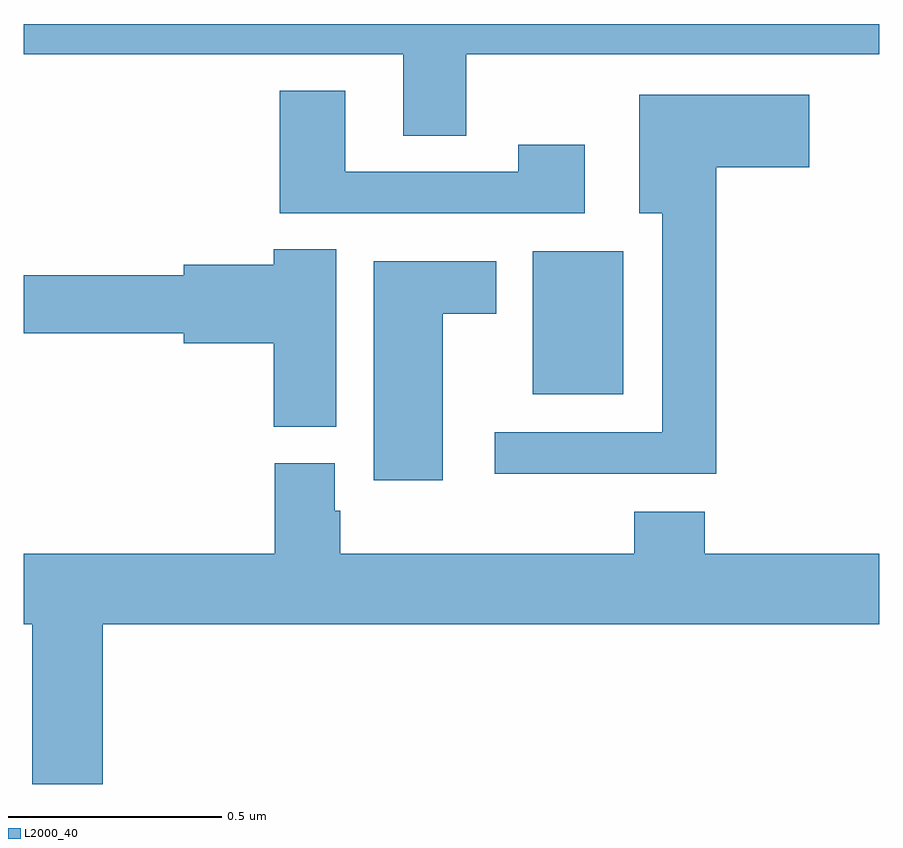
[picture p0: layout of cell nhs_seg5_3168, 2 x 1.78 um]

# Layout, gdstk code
import gdstk
lib = gdstk.Library(unit=1e-6, precision=1e-09)
def R(c, l, rs):  # rectangles x0, y0, x1, y1
    for r in rs: c.add(gdstk.rectangle(r[:2], r[2:], *l))
def P(c, l, *ps):  # polygons
    for p in ps: c.add(gdstk.Polygon(p, *l))
L2000_40 = (2000, 40)

nhs_seg5_3168 = lib.new_cell('nhs_seg5_3168')
R(nhs_seg5_3168, L2000_40, [(154.19,887.933,154.402,888.268)])
P(nhs_seg5_3168, L2000_40, [(154.035,888.728),(155,888.728),(155,888.799),(153,888.799),(153,888.728),(153.887,888.728),(153.887,888.538),(154.035,888.538)],
  [(154.312,888.517),(154.156,888.517),(154.156,888.453),(153.751,888.453),(153.751,888.643),(153.599,888.643),(153.599,888.357),(154.312,888.357)],
  [(154.619,888.464),(154.837,888.464),(154.837,888.634),(154.439,888.634),(154.439,888.356),(154.493,888.356),(154.493,887.844),(154.101,887.844),(154.101,887.747),(154.619,887.747)],
  [(153.73,888.272),(153.584,888.272),(153.584,888.236),(153.374,888.236),(153.374,888.212),(153,888.212),(153,888.076),(153.374,888.076),(153.374,888.053),(153.584,888.053),(153.584,887.857),(153.73,887.857)],
  [(153.979,888.122),(154.105,888.122),(154.105,888.244),(153.818,888.244),(153.818,887.732),(153.979,887.732)],
  [(153.184,887.396),(155,887.396),(155,887.56),(154.592,887.56),(154.592,887.659),(154.427,887.659),(154.427,887.56),(153.74,887.56),(153.74,887.661),(153.727,887.661),(153.727,887.772),(153.587,887.772),(153.587,887.56),(153,887.56),(153,887.396),(153.02,887.396),(153.02,887.022),(153.184,887.022)])

lib.write_gds('nhs_seg5_3168.gds')
